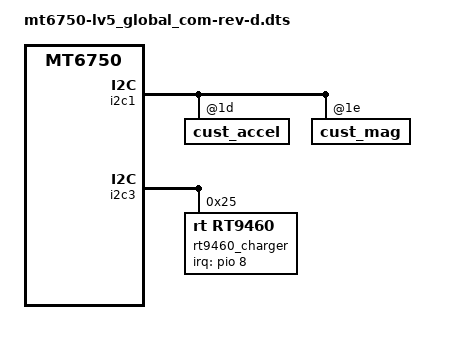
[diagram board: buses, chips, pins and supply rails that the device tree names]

/dts-v1/;

#include "../muse6750_hdk_n_lge.dtsi"

#include "../mt6750-common.dtsi"
#include "mt6750-lv5_global_com-power.dtsi"
#include "mt6750-lv5_global_com-panel.dtsi"
#include "mt6750-lv5_global_com-touch.dtsi"
#include "mt6750-lv5_global_com-sensor.dtsi"
#include "mt6750-lv5_global_com-fingerprint.dtsi"
#include "mt6750-lv5_global_com-misc.dtsi"
#include "mt6750-lv5_global_com-sound.dtsi"
#include "mt6750-lv5_global_com-nfc.dtsi"
#include "mt6750-lv5_global_com-common.dtsi"
#include "mt6750-lv5_global_com-usb.dtsi"
#include "mt6750-lv5_global_com-camera.dtsi"

/ {
	/*
	typedef enum {
		HW_REV_0 = 0,
		HW_REV_0_1,
		HW_REV_A,
		HW_REV_B,
		HW_REV_C,
		HW_REV_D,
		HW_REV_E,
		HW_REV_1_0,
		HW_REV_1_1,
		HW_REV_MAX
	} rev_type;
	*/
	lge,pcb_revision = <0x5>; // rev_d
};

&i2c1 {
	cust_accel@1d {
		direction = <2>;
	};

	cust_mag@1e {
		direction = <2>;
	};

	/delete-node/ rt9460_charger@25;
};

&i2c3 {
	rt9460_charger@25 {
		status = "okay";
		compatible = "rt,rt9460";
		reg = <0x25>;
		interrupt-parent = <&eintc>;
		interrupts = <8 0x2002>;
		debounce = <8 0>;
		rt,irq_gpio = <&pio 8 0x2002>;
		rt,te_en;
		rt,iinlm_sel = <2>;
		rt,iprec = <2>;
		rt,ieoc = <2>;
		rt,deadbat = <8>;
		rt,vprec = <2>;
		rt,voreg = <35>;
		rt,icc = <3125>;
		rt,aicr = <800>;
		rt,chg_volt = <4400>;
		rt,bst_volt = <5000>;
	};
};

&bat_meter {
	/* cust_battery_meter.h */
	r_charger_2 = <51 >;
};
